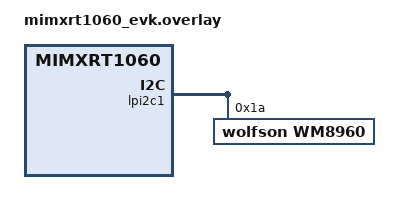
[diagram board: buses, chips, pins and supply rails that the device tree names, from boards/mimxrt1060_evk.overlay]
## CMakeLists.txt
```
# SPDX-License-Identifier: Apache-2.0

cmake_minimum_required(VERSION 3.20.0)

#set(SHIELD x_nucleo_iks01a3)

find_package(Zephyr REQUIRED HINTS $ENV{ZEPHYR_BASE})
project(mosyn)

target_sources(app PRIVATE
    src/main.c
    src/wm8960.c
  )
```

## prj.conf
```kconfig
CONFIG_ARM_MPU=n
CONFIG_BUILD_OUTPUT_HEX=y
CONFIG_ASSERT=y
CONFIG_LOG=y
CONFIG_PICOLIBC=y
#CONFIG_LOG_MODE_MINIMAL=y
CONFIG_RTIO=y
CONFIG_RTIO_EXECUTOR_CONCURRENT=y
CONFIG_RTIO_SUBMIT_SEM=y
CONFIG_I2S=y
CONFIG_I2S_LOG_LEVEL_INF=y

# TODO move this to a baord config
CONFIG_I2S_MCUX_SAI=y
CONFIG_DMA_TCD_QUEUE_SIZE=8

# Once shield is sorted out
CONFIG_I2C=y
#CONFIG_SENSOR=y
#CONFIG_SENSOR_LOG_LEVEL_DBG=y
#CONFIG_HTS221=y
#CONFIG_HTS221_TRIGGER_NONE=y
#CONFIG_LPS22HH=y
#CONFIG_LPS22HH_TRIGGER_OWN_THREAD=y
#CONFIG_STTS751=y
#CONFIG_STTS751_TRIGGER_NONE=y
#CONFIG_LIS2MDL=y
#CONFIG_LIS2MDL_TRIGGER_NONE=y
#CONFIG_LIS2DW12=y
#CONFIG_LIS2DW12_TRIGGER_OWN_THREAD=y
#CONFIG_LSM6DSO=y
#CONFIG_LSM6DSO_ENABLE_TEMP=n
#CONFIG_LSM6DSO_TRIGGER_OWN_THREAD=y
#CONFIG_CBPRINTF_FP_SUPPORT=y
```

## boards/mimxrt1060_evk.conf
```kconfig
# Copyright (c) 2022 Intel Corporation
#
# SPDX-License-Identifier: Apache-2.0

CONFIG_I2S=y
CONFIG_I2C=y
```

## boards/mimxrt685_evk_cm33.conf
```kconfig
/*
 * Copyright (c) 2022 Intel Corporation
 *
 * SPDX-License-Identifier: Apache-2.0
 */

CONFIG_I2S=y
CONFIG_I2C=y
```

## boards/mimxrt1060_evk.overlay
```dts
/*
 * Copyright (c) 2022 Intel Corporation
 *
 * SPDX-License-Identifier: Apache-2.0
 */

/ {
  aliases {
    codec0 = &wm8960;
  };
};

&lpi2c1 {
   wm8960: wm8960@1a {
     compatible = "wolfson,wm8960";
     reg = <0x1a>;
     label = "WM8960";
     i2s = <&sai1>;
     status = "okay";
   };
};
```

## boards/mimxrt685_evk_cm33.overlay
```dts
/*
 * Copyright (c) 2022 Intel Corporation
 *
 * SPDX-License-Identifier: Apache-2.0
 */

&i2c0 {
  pinctrl-0 = <&pinmux_i2c>;
  pinctrl-names = "default";

  status = "okay";
};

/ {
 wm8904: wm8904 {
   compatible = "wolfson,wm8904";
   reg = <0x31>;
   label = "CODEC_0";
   i2c = &i3c0;
   i2s = &sai0;

   status = "okay";
 };
};
```

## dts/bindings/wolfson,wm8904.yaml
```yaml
# Copyright (c) 2022 Intel Corporation
#
# SPDX-License-Identifier: Apache-2.0

description: Wolfson WM8904 Audio Codec

include: base.yaml

compatible: "wolfson,wm8904"

properties:
  i2c:
    type: phandle
    required: true

  i2s:
    type: phandle
    required: true
```

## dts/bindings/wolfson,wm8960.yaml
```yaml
# Copyright (c) 2022 Intel Corporation
#
# SPDX-License-Identifier: Apache-2.0

description: Wolfson WM8960 Audio Codec

compatible: "wolfson,wm8960"

include: i2c-device.yaml

properties:
  i2s:
    type: phandle
    required: true
```

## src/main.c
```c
/*
 * Copyright (c) 2022 Intel Corporation
 *
 * SPDX-License-Identifier: Apache-2.0
 */

#include "device.h"
#include "lis2mdl.h"
#include "lsm6dso.h"
#include "wm8904.h"
#include "wm8960.h"

#include <math.h>

#include <zephyr/drivers/i2c.h>
#include <zephyr/drivers/i2s.h>
#include <zephyr/kernel.h>
#include <zephyr/rtio/rtio.h>
#include <zephyr/rtio/rtio_executor_concurrent.h>

#include <zephyr/logging/log.h>
LOG_MODULE_REGISTER(mosyn, LOG_LEVEL_DBG);

#define SAMPLE_NO 32

/* The data_l represent a sine wave */
static int16_t data_l[SAMPLE_NO] = {
	6392,	12539,	18204,	23169,	27244,	30272,	32137,	32767,	32137,	30272,	27244,
	23169,	18204,	12539,	6392,	0,	-6393,	-12540, -18205, -23170, -27245, -30273,
	-32138, -32767, -32138, -30273, -27245, -23170, -18205, -12540, -6393,	-1,
};

/* The data_r represent a sine wave with double the frequency of data_l */
static int16_t data_r[SAMPLE_NO] = {
	12539,	23169,	30272,	32767,	30272,	23169,	12539,	0,	-12540, -23170, -30273,
	-32767, -30273, -23170, -12540, -1,	12539,	23169,	30272,	32767,	30272,	23169,
	12539,	0,	-12540, -23170, -30273, -32767, -30273, -23170, -12540, -1,
};

#define FRAME_CLK_FREQ 44100
#define TIMEOUT	       10
#define BLOCK_SIZE     (2 * sizeof(data_l))
#define NUM_TX_BLOCKS  4


RTIO_EXECUTOR_CONCURRENT_DEFINE(mosyn_exec, 3);
RTIO_DEFINE(mosyn_io, (struct rtio_executor *)(&mosyn_exec), 8, 8);

/**
 * Synthesize a sine wave sample
 *
 * @param sample_rate Sample rate in Hz
 * @param time Time step to generate for (where each step is 1/sample_rate)
 * @param freq Frequency of the sine wave in Hz
 * @param phase Phase of the sine wave in degrees
 * @return scaled estimated sine value
 */
float sine_synth(float sample_rate, uint32_t time, float freq, float phase)
{
	return sinf(time * (freq / sample_rate) + phase);
}

int main()
{
	LOG_INF("Motion Synthesizer!\n");

	int ret;
	int16_t tx_block[SAMPLE_NO];
	struct rtio_sqe *sqe;
	struct rtio_cqe *cqe;

	memset(tx_block, 0, SAMPLE_NO);
	
	const struct device *codec= DEVICE_DT_GET_ONE(wolfson_wm8960);
	struct rtio_wm8960 wm8960;
	
	ret = wm8960_get_iodev(codec, &wm8960, K_FOREVER);
	if (ret != 0) {
		LOG_ERR("Error getting codec tx stream");
		return ret;
	}

	sqe = rtio_spsc_acquire(mosyn_io.sq);
	__ASSERT(sqe != NULL, "expected a valid pointer to a sqe");
	
	rtio_sqe_prep_write(sqe, wm8960.iodev, RTIO_PRIO_HIGH, (void*)tx_block, sizeof(tx_block), tx_block);	
	
	while (true) {	
		sqe = rtio_spsc_acquire(mosyn_io.sq);
		__ASSERT(sqe != NULL, "expected a valid pointer to a sqe");
		rtio_sqe_prep_write(sqe, wm8960.iodev, RTIO_PRIO_HIGH, (void*)tx_block, sizeof(tx_block), tx_block);	
		
		ret = rtio_submit(&mosyn_io, 1);
		if (ret != 0) {
			LOG_WRN("failed to submit requests to audio stream, under/over run likely");
			goto out;
		}

		cqe = rtio_cqe_consume(&mosyn_io);
		if (cqe->result != 0) {
			LOG_WRN("failed to write buffer to audio stream, under/over run likely");
			goto out;
		}
	}
	
out:
	return 0;
}
```

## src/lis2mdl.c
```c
#include "lis2mdl.h"

void lis2mdl_configure(struct rtio_lis2mdl *iodev)
{

}
```

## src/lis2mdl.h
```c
/*
 * Copyright (c) 2022 Intel Corporation
 *
 * SPDX-License-Identifier: Apache-2.0
 */

/**
 * Simple driver over a LIS2MDL and mcux I2C that provides an RTIO IODEV
 *
 * Ideally this uses a sensor driver that works with RTIO instead.
 */
#ifndef LIS2MDL_H_
#define LIS2MDL_H_

#include <rtio/rtio.h>

struct rtio_lis2mdl {
	struct rtio_iodev iodev;
};

void lis2mdl_configure(struct rtio_lis2mdl *iodev);


#endif /* LIS2MDL_H_ */
```

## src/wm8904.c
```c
/*
 * Copyright (c) 2022 Intel Corporation
 *
 * SPDX-License-Identifier: Apache-2.0
 */

#define DT_DRV_COMPAT wolfson_wm8904

#include "wm8904.h"
#include <zephyr/drivers/i2c.h>
#include <zephyr/drivers/i2s.h>
#include <zephyr/kernel.h>

#include <zephyr/logging/log.h>
LOG_MODULE_REGISTER(wm8904, LOG_LEVEL_DBG);

/**
 * Statically defined Quick Start-Up (defined in wm8904_rev4.1.pdf reference, page 131).
 * 
 * Assumes a 12.288MHz clock and enables the DAC (headphones).
 */
static const uint8_t wm8904_init_seq[][2] = {
	WM8904_PAIR(WM8904_WRITE_SEQ0, 0x0100),
	WM8904_PAIR(WM8904_WRITE_SEQ3, 0x0100),
	WM8904_PAIR(WM8904_DAC_DIGITAL1, 0x0000),
};

#define WM8904_NODE_ID wm8904

/* TODO replace i2s mem slab with rtio iodev */
K_MEM_SLAB_DEFINE(tx_mem_slab, 128, 4, 32);

struct wm8904_config {
	const struct device *i2c_dev;
	const struct device *i2s_dev;
};

static const struct wm8904_config config = {
	.i2c_dev = DEVICE_DT_GET(DT_PHANDLE(WM8904_NODE_ID, i2c_dev)),
	.i2s_dev = DEVICE_DT_GET(DT_PHANDLE(WM8904_NODE_ID, i2s_dev)),
};

struct wm8904_data {
};

static struct wm8904_data data;

/**
 * Configure WM8905 for playback with the provided output channel configurations
 */
int wm8904_configure(const struct device *dev,
		      struct wm8904_cfg *cfg)
{

	int err;
	const struct wm8904_config  *config = dev->config;
	struct wm8904_data *data = dev->data;

	for(int i = 0; i < ARRAY_SIZE(wm8904_init_seq); i++) {
		LOG_DBG("writing to reg %x value %x, raw bytes %x, %x",
			wm8904_init_seq[i][0] >> 1,
			((wm8904_init_seq[i][0] & 0x01) << 8) | wm8904_init_seq[i][1],
			wm8904_init_seq[i][0],
			wm8904_init_seq[i][1]);
		err = i2c_write(wm8904->i2c, &wm8904_init_seq[i][0], 2, WM8904_ADDR);
		__ASSERT(err == 0, "Failed to write out wm8904 init sequence");
		k_busy_wait(100);
	}

	struct i2s_config i2s_cfg;

	i2s_cfg.word_size = 16U;
	i2s_cfg.channels = 2U;
	i2s_cfg.format = I2S_FMT_DATA_FORMAT_I2S;
	i2s_cfg.frame_clk_freq = 48000;
	i2s_cfg.block_size = 128;
	i2s_cfg.timeout = 1000;
	i2s_cfg.options = I2S_OPT_FRAME_CLK_MASTER | I2S_OPT_BIT_CLK_MASTER;
	i2s_cfg.mem_slab = &tx_mem_slab;

	ret = i2s_configure(wm8904->i2s, I2S_DIR_TX, &i2s_cfg);
}


static int wm8904_init(const struct device *dev)
{
	int err;
	const struct wm8904_config *config = dev->config;
	struct wm8904_data *data = dev->data;

	
	LOG_DBG("Setting up wm8904 codec over i3c");

	for(int i = 0; i < ARRAY_SIZE(wm8904_init_seq); i++) {
		err = i2c_write(config->i2c_dev, &wm8904_init_seq[i][0], 3, WM8904_ADDR);
		__ASSERT(err == 0, "Failed to write out wm8904 init sequence");
	}

	/* TODO verify  WSEQ_BUSY set in WRITE_SEQ4 */

	k_msleep(300);

	/* TODO poll on WSEQ_BUSY in WRITE_SEQ4 for completion */

	LOG_DBG("wm8904 setup, configuring i2s");

	/* Setup i2s clocking for external 12.288 MHz clock */
	struct i2s_config i2s_cfg;
	i2s_cfg.word_size = 16U;
	i2s_cfg.channels = 2U;
	i2s_cfg.format = I2S_FMT_DATA_FORMAT_I2S;
	i2s_cfg.frame_clk_freq = 48000;
	i2s_cfg.block_size = 128;
	i2s_cfg.timeout = 1000;
	i2s_cfg.options = I2S_OPT_FRAME_CLK_MASTER | I2S_OPT_BIT_CLK_MASTER;
	i2s_cfg.mem_slab = &tx_mem_slab;

	err = i2s_configure(config->i2s_dev, I2S_DIR_TX, &i2s_cfg);	
	__ASSERT(err == 0, "Failed to initialize i2s and clock");
	
	return err;
}

DEVICE_DT_DEFINE(DT_NODELABEL(WM8904_NODE_ID), wm8904_init, NULL, &data, &config, APPLICATION, 0, NULL)
```

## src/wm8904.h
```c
/* Copyright (c) 2022 Intel Corporation
 *
 * SPDX-License-Identifier: Apache-2.0
 */

/**
 * Simple driver over a WM8904 codec that provides an rtio iodev
 *
 * Very much like the I2S interface but includes the Codec configuration.
 */

#include <stdint.h>

#include <zephyr/device.h>
#include <zephyr/kernel.h>
#include <zephyr/rtio/rtio.h>

/**
 * Stream wrapper type for WM8904
 */
struct wm8904 {
	struct rtio_iodev iodev;
	const struct device *dev;
};

/**
 * Analog output config
 */
union wm8904_analog_out_cfg {
	uint16_t full;
	struct wm8904_analog_out_bits {
		uint8_t _unused : 7;
		bool mute : 1;	    /* Mute if true */
		bool lr_update : 1; /* Update both left and right simultaneously
				     */
		bool left_zc_en : 1; /* Zero-cross enable */
		/* 6 bit volume mapping from -57dB (at 0x00) to +6dB (at 0x3F)
		 */
		uint8_t volume : 6;
	} bits __packed;
};

/**
 * Simple configuration stuct, could grow enormous to cover all the WM8904
 * Features
 */
struct wm8904_cfg {
	union wm8904_analog_out_cfg headphone_left;
	union wm8904_analog_out_cfg headphone_right;
};

/**
 * Configure a WM8904 Codec
 *
 * @param dev WM8904 Device
 * @param cfg Configuration
 * @retval 0 Success
 * @retval -ERRNO Failure with a given errno code
 */
int wm8904_configure(const struct device *dev, struct wm8904_cfg *cfg);

/* I2C Address */
#define WM8904_ADDR 0x34

/* Array of 3 uin8t_t's from a reigster addr and value pair */
#define WM8904_PAIR(reg, val) {reg,  (uint8_t)(val >> 8 & 0x00FF), (uint8_t)(val & 0x00FF)}

/*
 * Register Map
 *
 * This is a pretty large register map and not everything is going to be used
 * but it is complete in the sense of mapping all register addresses not
 * necessarily every bit field of every register.
 *
 * In fact if simply using as an output device (in this case) the write
 * sequencer can be used to setup a common configuration in a few register
 * writes.
 */
#define WM8904_ID		 0x00
#define WM8904_BIAS_CTL0	 0x04
#define WM8904_VMID_CTL0	 0x05
#define WM8904_MIC_BIAS_CTL0	 0x06
#define WM8904_MIC_BIAS_CTL1	 0x07
#define WM8904_ANALOG_ADC0	 0x0A
#define WM8904_PWR_MGMT0	 0x0C
#define WM8904_PWR_MGMT2	 0x0E
#define WM8904_PWR_MGMT3	 0x0F
#define WM8904_PWR_MGMT6	 0x12
#define WM8904_CLK_RATES0	 0x14
#define WM8904_CLK_RATES1	 0x15
#define WM8904_CLK_RATES2	 0x16
#define WM8904_AUDIO_INTF0	 0x18
#define WM8904_AUDIO_INTF1	 0x19
#define WM8904_AUDIO_INTF2	 0x1A
#define WM8904_AUDIO_INTF3	 0x1B
#define WM8904_DAC_DVOL_LEFT	 0x1E
#define WM8904_DAC_DVOL_RIGHT	 0x1F
#define WM8904_DAC_DIGITAL0	 0x20
#define WM8904_DAC_DIGITAL1	 0x21
#define WM8904_ADC_DVOL_LEFT	 0x24
#define WM8904_ADC_DVOL_RIGHT	 0x25
#define WM8904_ADC_DIGITAL0	 0x26
#define WM8904_DMIC0		 0x27
#define WM8904_DRC0		 0x28
#define WM8904_DRC1		 0x29
#define WM8904_DRC2		 0x2A
#define WM8904_DRC3		 0x2B
#define WM8904_ANALOG_LEFT_IN0	 0x2C
#define WM8904_ANALOG_RIGHT_IN0	 0x2D
#define WM8904_ANALOG_LEFT_IN1	 0x2E
#define WM8904_ANALOG_RIGHT_IN1	 0x2F
#define WM8904_ANALOG_LEFT_OUT1	 0x39
#define WM8904_ANALOG_RIGHT_OUT1 0x3A
#define WM8904_ANALOG_LEFT_OUT2	 0x3B
#define WM8904_ANALOG_RIGHT_OUT2 0x3C
#define WM8904_ANALOG_OUT12_ZC	 0x3D
#define WM8904_DC_SERVO0	 0x43
#define WM8904_DC_SERVO1	 0x44
#define WM8904_DC_SERVO2	 0x45
#define WM8904_DC_SERVO4	 0x47
#define WM8904_DC_SERVO5	 0x48
#define WM8904_DC_SERVO6	 0x49
#define WM8904_DC_SERVO7	 0x4A
#define WM8904_DC_SERVO8	 0x4B
#define WM8904_DC_SERVO9	 0x4C
#define WM8904_DC_SERVO_RB0	 0x4D
#define WM8904_DC_ANALOG_HP0	 0x5A
#define WM8904_ANALOG_LINEOUT0	 0x5E
#define WM8904_CHARGE_PUMP0	 0x62
#define WM8904_CLASSW0		 0x68
#define WM8904_WRITE_SEQ0	 0x6C
#define WM8904_WRITE_SEQ1	 0x6D
#define WM8904_WRITE_SEQ2	 0x6E
#define WM8904_WRITE_SEQ3	 0x6F
#define WM8904_WRITE_SEQ4	 0x70
#define WM8904_FLL_CTL1		 0x74
#define WM8904_FLL_CTL2		 0x75
#define WM8904_FLL_CTL3		 0x76
#define WM8904_FLL_CTL4		 0x77
#define WM8904_FLL_CTL5		 0x78
#define WM8904_GPIO1		 0x79
#define WM8904_GPIO2		 0x7A
#define WM8904_GPIO3		 0x7B
#define WM8904_GPIO4		 0x7C
#define WM8904_DIGITAL_PULLS	 0x7E
#define WM8904_INT_STATUS	 0x7F
#define WM8904_INT_STATUS_MASK	 0x80
#define WM8904_INT_POLARITY	 0x81
#define WM8904_INT_BOUNCE	 0x82
#define WM8904_EQ1		 0x86
#define WM8904_EQ2		 0x87
#define WM8904_EQ3		 0x88
#define WM8904_EQ4		 0x89
#define WM8904_EQ5		 0x8A
#define WM8904_EQ6		 0x8B
#define WM8904_EQ7		 0x8C
#define WM8904_EQ8		 0x8D
#define WM8904_EQ9		 0x8E
#define WM8904_EQ10		 0x8F
#define WM8904_EQ11		 0x90
#define WM8904_EQ12		 0x91
#define WM8904_EQ13		 0x92
#define WM8904_EQ14		 0x93
#define WM8904_EQ15		 0x94
#define WM8904_EQ16		 0x95
#define WM8904_EQ17		 0x96
#define WM8904_EQ18		 0x97
#define WM8904_EQ19		 0x98
#define WM8904_EQ20		 0x99
#define WM8904_EQ21		 0x9A
#define WM8904_EQ22		 0x9B
#define WM8904_EQ23		 0x9C
#define WM8904_EQ24		 0x9D
#define WM8904_ADC_TEST0	 0xC6
#define WM8904_FLL_NCO_TEST0	 0xF7
#define WM8904_FLL_NCO_TEST1	 0xF8
```

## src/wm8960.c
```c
/*
 * Copyright (c) 2022 Intel Corporation
 *
 * SPDX-License-Identifier: Apache-2.0
 */

#define DT_DRV_COMPAT wolfson_wm8960

#include "wm8960.h"

#include <zephyr/device.h>
#include <zephyr/drivers/i2c.h>
#include <zephyr/drivers/i2s.h>
#include <zephyr/kernel.h>
#include <zephyr/logging/log.h>
#include <zephyr/rtio/rtio.h>
LOG_MODULE_REGISTER(wm8960, LOG_LEVEL_DBG);

static const uint8_t wm8960_init_seq[][2] = {
	WM8960_PAIR(WM8960_RESET, 0),	    /* Reset to defaults */
	WM8960_PAIR(WM8960_PWR1, 0x01C0),   /* vmid, vref, ain, digenb on */
	WM8960_PAIR(WM8960_PWR2, 0x01E0),   /* dac on, out1 on, spkr on, pll on */
	WM8960_PAIR(WM8960_PWR3, 0x003C),   /* mic, mix on */
	WM8960_PAIR(WM8960_IFACE1, 0x0002), /* master mode, word length 16 bits, format I2S */
	WM8960_PAIR(WM8960_IFACE2, 0x0040), /* ADC and DAC word clock same (ALRCGPIO 1) */
	WM8960_PAIR(WM8960_LDAC, 0x00FF),   /* 0dB */
	WM8960_PAIR(WM8960_RDAC, 0x01FF),   /* 0dB */
	WM8960_PAIR(WM8960_LOUT1, 0x003F),  /* 0dB */
	WM8960_PAIR(WM8960_ROUT1, 0x013F),  /* 0dB */
	WM8960_PAIR(WM8960_ADCR, 0x0144),   /* RMN1, RMP2, RMIC2B */
	WM8960_PAIR(WM8960_LMIX, 0x01F0),   /* DAC routing */
	WM8960_PAIR(WM8960_RMIX, 0x01F0),   /* DAC routing */
	WM8960_PAIR(WM8960_CTL2, 0x0004),   /* Unmute ramp volume */
	WM8960_PAIR(WM8960_CTL1, 0x0000),   /* Unmute */
	WM8960_PAIR(WM8960_CLASSD1, 0x00F7) /* enable class d */
};

#define WM8960_NODE_ID wm8960

struct wm8960_config {
	const struct i2c_dt_spec i2c;
};

struct wm8960_data {
	const struct device *i2s;
	struct k_mutex *lock;
	struct k_mem_slab *tx_mem_slab;
	struct rtio_iodev iodev;
	uint32_t iodev_key;
};

/* TODO not really asynchronous at the moment as the DMA is hidden behind a k_msgq in i2s, which isn't really
 * what I want to demonstrate.
 */
void wm8960_iodev_submit(const struct rtio_sqe *sqe, struct rtio *r)
{
	/* TODO only accept TX's, copy TX buffer to slab for now (zero copy later...) */
	if (sqe->op == RTIO_OP_TX) {
		struct wm8960_data *data = CONTAINER_OF(sqe->iodev, struct wm8960_data, iodev);

		/* TODO remove this and do a direct DMA write with the buffer */
		i2s_buf_write(data->i2s, sqe->buf, sqe->buf_len);

		/* Assume its only a TX channel here for now */
		rtio_sqe_ok(r, sqe, 0);
	}
}

const static struct rtio_iodev_api wm8960_iodev_api = {.submit = wm8960_iodev_submit};

int wm8960_get_iodev(const struct device *dev, struct rtio_wm8960 *wm8960, k_timeout_t timeout)
{
	int err;
	struct wm8960_data *data = (struct wm8960_data *)dev->data;

	err = k_mutex_lock(data->lock, timeout);
	if (err != 0) {
		LOG_WRN("Failed to obtain wm8960 mutex before timeout");
		return err;
	}

	data->iodev_key += 1;

	wm8960->key = data->iodev_key;
	wm8960->iodev = &data->iodev;
	wm8960->dev = dev;

	return 0;
}

int wm8960_put_iodev(const struct device *dev, struct rtio_wm8960 *wm8960)
{
	struct wm8960_data *data = (struct wm8960_data *)wm8960->dev->data;

	if (wm8960->key != data->iodev_key) {
		return -EINVAL;
	}

	wm8960->iodev = NULL;
	wm8960->dev = NULL;
	wm8960->key = 0;

	return k_mutex_unlock(data->lock);
}

int wm8960_start(struct rtio_iodev *iodev)
{
	struct rtio_wm8960 *wm8960 = (struct rtio_wm8960 *)iodev;
	struct wm8960_data *data = (struct wm8960_data *)(wm8960->dev->data);

	LOG_INF("Starting streaming of wm8960 %p", wm8960);

	i2s_trigger(data->i2s, I2S_DIR_TX, I2S_TRIGGER_START);

	return 0;
}

int wm8960_stop(struct rtio_iodev *iodev)
{
	struct rtio_wm8960 *wm8960 = (struct rtio_wm8960 *)iodev;
	struct wm8960_data *data = (struct wm8960_data *)(wm8960->dev->data);

	LOG_INF("Stopping streaming of wm8960 %p", wm8960);

	i2s_trigger(data->i2s, I2S_DIR_TX, I2S_TRIGGER_STOP);

	return 0;
}

/**
 * Initialize the wm8960 codec as a simple audio output device
 */
int wm8960_init(const struct device *dev)
{
	int err;
	const struct wm8960_config *cfg = dev->config;
	struct wm8960_data *data = dev->data;

	LOG_DBG("Setting up wm8960 codec over i2c");

	for (int i = 0; i < ARRAY_SIZE(wm8960_init_seq); i++) {
		LOG_DBG("writing to reg %x value %x, raw bytes %x, %x", wm8960_init_seq[i][0] >> 1,
			((wm8960_init_seq[i][0] & 0x01) << 8) | wm8960_init_seq[i][1],
			wm8960_init_seq[i][0], wm8960_init_seq[i][1]);
		err = i2c_write_dt(&cfg->i2c, &wm8960_init_seq[i][0], 2);
		__ASSERT(err == 0, "Failed to write out wm8960 init sequence");
		k_busy_wait(100);
	}

	struct i2s_config i2s_cfg;

	i2s_cfg.word_size = 16U;
	i2s_cfg.channels = 2U;
	i2s_cfg.format = I2S_FMT_DATA_FORMAT_I2S;
	i2s_cfg.frame_clk_freq = 48000;
	i2s_cfg.block_size = 128;
	i2s_cfg.timeout = 1000;
	i2s_cfg.options = I2S_OPT_FRAME_CLK_MASTER | I2S_OPT_BIT_CLK_MASTER;
	i2s_cfg.mem_slab = data->tx_mem_slab;

	err = i2s_configure(data->i2s, I2S_DIR_TX, &i2s_cfg);

	return err;
}

#define WM8960_INIT(n)                                                                             \
	static const struct wm8960_config wm8960_config_##n = {                                    \
		.i2c = I2C_DT_SPEC_INST_GET(n),                                                    \
	};                                                                                         \
                                                                                                   \
	K_MEM_SLAB_DEFINE(wm8960_tx_mem_slab_##n, 128, 4, 32);                                     \
	K_MUTEX_DEFINE(wm8960_mutex_##n);                                                          \
                                                                                                   \
	static struct wm8960_data wm8960_data_##n = {                                              \
		.lock = &wm8960_mutex_##n,                                                         \
		.tx_mem_slab = &wm8960_tx_mem_slab_##n,                                            \
		.i2s = DEVICE_DT_GET(DT_PHANDLE(DT_DRV_INST(n), i2s)),                             \
		.iodev =                                                                           \
			{                                                                          \
				.api = &wm8960_iodev_api,                                          \
			},                                                                         \
	};                                                                                         \
                                                                                                   \
	DEVICE_DT_INST_DEFINE(n, wm8960_init, NULL, &wm8960_data_##n, &wm8960_config_##n,          \
			      APPLICATION, 0, NULL);

DT_INST_FOREACH_STATUS_OKAY(WM8960_INIT);
```

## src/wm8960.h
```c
/*
 * Copyright (c) 2022 Intel Corporation
 *
 * SPDX-License-Identifier: Apache-2.0
 */

/**
 * Simple driver over a WM8960 codec that provides an rtio iodev
 *
 * Ideally this uses a codec/i2s driver that works with RTIO instead.
 */
#ifndef WM8960_H_
#define WM8960_H_

#include <zephyr/drivers/i2c.h>
#include <zephyr/drivers/i2s.h>
#include <zephyr/kernel.h>
#include <zephyr/rtio/rtio.h>

/**
 * A taken wm8960 device which maybe used with RTIO
 */
struct rtio_wm8960 {
	struct rtio_iodev *iodev;
	const struct device *dev;
	uint32_t key;
};

/**
 * Get ownership of the audio stream rtio_iodev from the device
 *
 * @param dev Device (codec) to get the iodev from
 * @param wm8960 An object to assign a key and iodev pointer to on success
 * @param timeout Timeout parameter to take the internal iodev (typically a mutex)
 * @retval 0 Success
 * @retval -errno Error
 */
int wm8960_get_iodev(const struct device *dev, struct rtio_wm8960 *wm8960, k_timeout_t timeout);

/**
 * Return ownership of the audio stream (rtio_wm8960) to the device
 *
 * @param dev Device (codec) to get the iodev from
 * @param wm8960 An object to return a key and iodev pointer from on success
 * @retval 0 Success
 * @retval -errno Error
 */
int wm8960_put_iodev(const struct device *dev, struct rtio_wm8960 *wm8960);

/**
 * Start streaming audio data
 *
 * @param iodev Iodev (codec) to start streaming with
 * @retval 0 Success
 * @retval -errno Error
 */
int wm8960_start(struct rtio_iodev *iodev);

/**
 * Stop streaming audio data
 *
 * @param iodev Iodev (codec) to start streaming with
 * @retval 0 Success
 * @retval -errno Error
 */
int wm8960_stop(struct rtio_iodev *iodev);

#define WM8960_VMASK	   0x01FF
#define WM8960_REGSHIFT(x) (x << 1)
#define WM8960_VALH(val)   ((val >> 8) & 0x01)
#define WM8960_VALL(val)   (val & 0xFF)

/* Generate a pair of values for high and low bytes */
#define WM8960_PAIR(reg, val)                                                                      \
	{                                                                                          \
		WM8960_REGSHIFT(reg) | WM8960_VALH(val), WM8960_VALL(val)                          \
	}

#define WM8960_LIN     0x00
#define WM8960_RIN     0x01
#define WM8960_LOUT1   0x02
#define WM8960_ROUT1   0x03
#define WM8960_CLOCK1  0x04
#define WM8960_CTL1    0x05
#define WM8960_CTL2    0x06
#define WM8960_IFACE1  0x07
#define WM8960_CLOCK2  0x08
#define WM8960_IFACE2  0x09
#define WM8960_LDAC    0x0A
#define WM8960_RDAC    0x0B
#define WM8960_RESET   0x0F
#define WM8960_3DCTL   0x10
#define WM8960_ALC1    0x11
#define WM8960_ALC2    0x12
#define WM8960_ALC3    0x13
#define WM8960_NGATE   0x14
#define WM8960_LADC    0x15
#define WM8960_RADC    0x16
#define WM8960_ACTL1   0x17
#define WM8960_ACTL2   0x18
#define WM8960_PWR1    0x19
#define WM8960_PWR2    0x1A
#define WM8960_ACTL3   0x1B
#define WM8960_APOP1   0x1C
#define WM8960_APOP2   0x1D
#define WM8960_ADCL    0x20
#define WM8960_ADCR    0x21
#define WM8960_LMIX    0x22
#define WM8960_RMIX    0x25
#define WM8960_MMIX    0x27
#define WM8960_LOUT2   0x28
#define WM8960_ROUT2   0x29
#define WM8960_MONOOUT 0x2A
#define WM8960_BOOST1  0x2B
#define WM8960_BOOST2  0x2C
#define WM8960_BYPASS1 0x2D
#define WM8960_BYPASS2 0x2E
#define WM8960_PWR3    0x2F
#define WM8960_ACTL4   0x30
#define WM8960_CLASSD1 0x31
#define WM8960_CLASSD3 0x33
#define WM8960_PLLN    0x34
#define WM8960_PLLK1   0x35
#define WM8960_PLLK2   0x36
#define WM8960_PLLK3   0x37

#endif /* WM8960_H_ */
```
